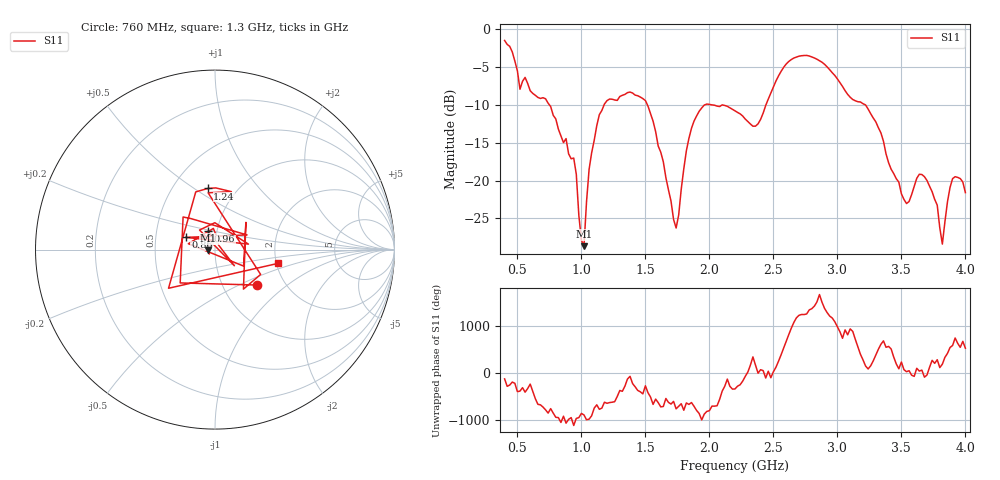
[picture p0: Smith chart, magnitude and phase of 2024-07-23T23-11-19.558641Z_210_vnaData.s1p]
!Created with skrf (http://scikit-rf.org).
# Hz S RI R 50.0
!freq ReS11 ImS11
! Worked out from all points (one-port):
!   181 points, 400 MHz to 4 GHz, reference 50 ohm
!   lowest |S11| = -28.6 dB at 1.02 GHz (marker M1), VSWR 1.08, Z = 46.4 - j0.313 ohm
!   |S11| at or under -10 dB: 1.515 GHz to 1.97 GHz (455.3 MHz wide, 26.1 % of centre); 2.007 GHz to 2.443 GHz (435.7 MHz wide, 19.6 % of centre); 3.214 GHz to end of sweep (the widest 3 of 4)
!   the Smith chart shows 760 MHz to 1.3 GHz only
!   S11 on the Smith chart (normalised r, x): 760 MHz: 1.45, -0.63; 860 MHz: 0.71, +0.10; 960 MHz: 0.91, +0.19; 1.24 GHz: 0.74, +0.57; 1.3 GHz: 2.03, -0.36
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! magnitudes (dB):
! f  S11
! 400 MHz  -1.6
! 520 MHz  -8.0
! 760 MHz  -10.3
! 860 MHz  -15.0
! 960 MHz  -19.2
! 1 GHz  -27.8
! 1.02 GHz  -28.6
! 1.06 GHz  -18.5
! 1.12 GHz  -12.8
! 1.24 GHz  -9.3
! 1.3 GHz  -8.9
! 1.5 GHz  -9.5
! 1.72 GHz  -25.1
! 1.76 GHz  -24.5
! 1.82 GHz  -16.1
! 1.9 GHz  -11.5
! 2.2 GHz  -10.8
! 2.36 GHz  -12.8
! 2.66 GHz  -3.9
! 2.88 GHz  -4.4
! 3.1 GHz  -9.0
! 3.3 GHz  -12.3
! 3.56 GHz  -22.8
! 3.68 GHz  -19.5
! 3.78 GHz  -23.2
! 3.82 GHz  -28.4
! 3.9 GHz  -19.8
! 4 GHz  -21.6
